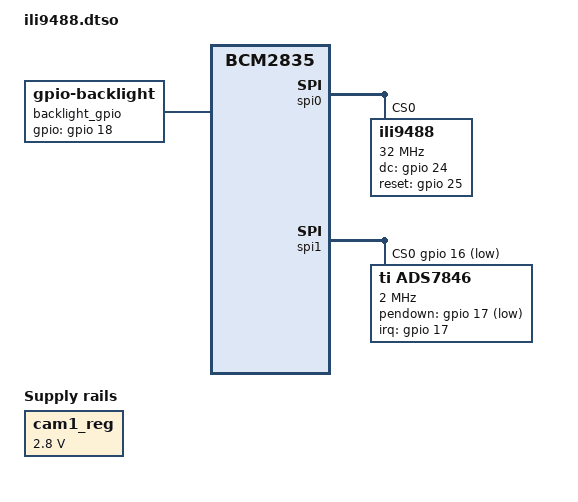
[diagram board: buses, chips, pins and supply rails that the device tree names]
/dts-v1/;
/plugin/;

#include <dt-bindings/gpio/gpio.h>

/ {
    compatible = "brcm,bcm2835";

    fragment@0 {
        target = <&spi0>;
        __overlay__ {
            spidev@0 {
                status = "disabled";
            };
            spidev@1 {
                status = "disabled";
            };
        };
    };

    fragment@1 {
		target = <&spi1>;
		__overlay__ {
            spidev@0 {
                status = "disabled";
            };
            spidev@1 {
                status = "disabled";
            };
        };
	};

    fragment@2 {
        target-path = "/";
        __overlay__ {
            backlight_gpio: backlight_gpio {
                compatible = "gpio-backlight";
                gpios = <&gpio 18 GPIO_ACTIVE_HIGH>;
                default-on;
                status = "okay";
            };

            cam1_reg: cam1_reg {
                compatible = "regulator-fixed";
                regulator-name = "cam1_reg";
                regulator-min-microvolt = <2800000>;
                regulator-max-microvolt = <2800000>;
                regulator-always-on;
            };
        };
    };

    fragment@3 {
        target = <&gpio>;
        __overlay__ {
            ads7846_pins: ads7846_pins {
                brcm,pins = <17>;
                brcm,function = <0>;  /* input */
                brcm,pull = <0>;      /* none — на плате уже есть pull-up */
            };
        };
    };

    fragment@4 {
        target = <&spi0>;
        __overlay__ {
            #address-cells = <1>;
            #size-cells = <0>;
            status = "okay";

            ili9488: ili9488@0 {
                compatible = "ili9488", "panel-mipi-dbi-spi";
                reg = <0>;
                spi-max-frequency = <32000000>;
                dc-gpios    = <&gpio 24 GPIO_ACTIVE_HIGH>;
                reset-gpios = <&gpio 25 GPIO_ACTIVE_HIGH>;
                /* write-only; */
                format = "b6x2g6x2r6x2";

                width-mm  = <35>;
                height-mm = <28>;

                panel-timing {
                    hactive     = <320>;
                    vactive     = <480>;
                    hback-porch = <0>;
					vback-porch = <0>;

					clock-frequency = <0>;
					hfront-porch    = <0>;
					hsync-len       = <0>;
					vfront-porch    = <0>;
					vsync-len       = <0>;
                };
            };
        };
    };

    fragment@5 {
        target = <&spi1>;
        __overlay__ {
            #address-cells = <1>;
            #size-cells = <0>;
            status = "okay";
            cs-gpios = <&gpio 16 GPIO_ACTIVE_LOW>;

            ads7846: ads7846@0 {
                compatible = "ti,ads7846";
                reg = <0>;
                pinctrl-names = "default";
                pinctrl-0 = <&ads7846_pins>;
                spi-max-frequency = <2000000>;
                interrupt-parent = <&gpio>;
                interrupts = <17 2>;
                pendown-gpio = <&gpio 17 1>;

                ti,x-min = /bits/ 16 <0>;
                ti,x-max = /bits/ 16 <0x0FFF>;
                ti,y-min = /bits/ 16 <0>;
                ti,y-max = /bits/ 16 <0x0FFF>;
                ti,pressure-min = /bits/ 16 <0>;
                ti,pressure-max = /bits/ 16 <255>;
                ti,x-plate-ohms = /bits/ 16 <60>;
            };
        };
    };
};

